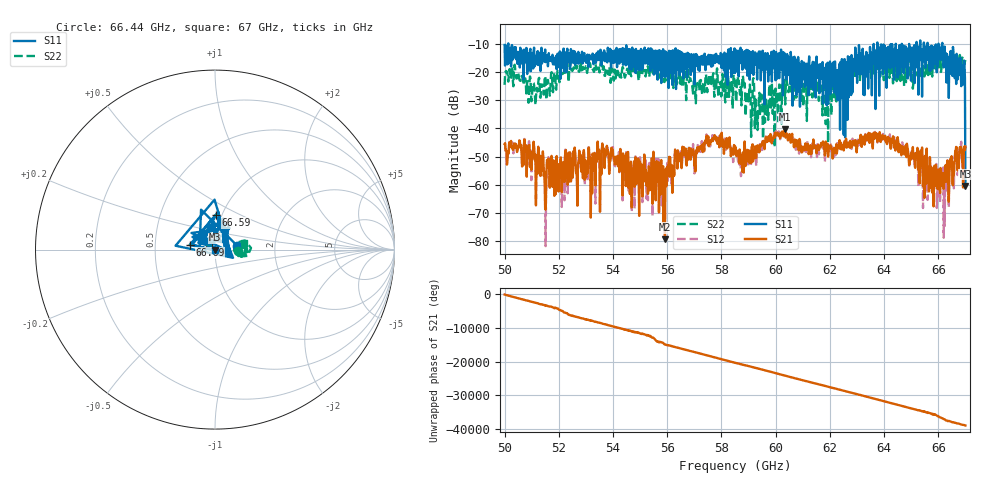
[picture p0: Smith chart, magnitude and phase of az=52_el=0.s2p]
!Created with skrf (http://scikit-rf.org).
# GHz S RI R 50.0
!freq ReS11 ImS11 ReS21 ImS21 ReS12 ImS12 ReS22 ImS22
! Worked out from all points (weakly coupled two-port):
!   1001 points, 50 GHz to 67 GHz, reference 50 ohm
!   highest |S21| = -40.29 dB at 60.34 GHz (marker M1); lowest = -79.3 dB at 55.92 GHz (marker M2)
!   lowest |S11| = -60.4 dB at 67 GHz (marker M3), VSWR 1.00, Z = 50 - j0.0949 ohm
!   |S11| at or under -10 dB: 50.14 GHz to 63.75 GHz (13.61 GHz wide, 23.9 % of centre); 63.76 GHz to 64.43 GHz (677.8 MHz wide, 1.06 % of centre); 66.15 GHz to end of sweep (the widest 3 of 11)
!   |S22| runs from -46.7 to -13.9 dB; largest |S21 - S12| = 0.0022
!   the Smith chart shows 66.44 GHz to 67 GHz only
!   S11 on the Smith chart (normalised r, x): 66.44 GHz: 1.28, +0.06; 66.59 GHz: 0.94, +0.38; 66.69 GHz: 0.75, +0.04; 67 GHz: 1.00, -0.00
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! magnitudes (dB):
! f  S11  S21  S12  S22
! 50 GHz  -10.4  -45.6  -45.4  -24.5
! 51.33 GHz  -19.6  -56.8  -56.9  -29.1
! 51.51 GHz  -16.5  -68.8  -81.8  -22.9
! 52.84 GHz  -14.4  -55.4  -55.4  -19.4
! 55.68 GHz  -13.8  -52.0  -50.8  -22.2
! 55.92 GHz  -21.7  -79.3  -59.1  -22.2
! 56.36 GHz  -14.7  -49.1  -50.5  -24.2
! 57.75 GHz  -13.9  -42.4  -43.2  -23.6
! 58.5 GHz  -20.3  -47.2  -47.1  -24.9
! 59.61 GHz  -13.4  -45.3  -44.2  -37.8
! 60.34 GHz  -13.4  -40.3  -41.3  -26.1
! 61.34 GHz  -24.8  -46.7  -48.6  -26.2
! 62 GHz  -16.3  -46.2  -48.2  -25.7
! 62.56 GHz  -43.2  -45.3  -44.6  -20.1
! 63.01 GHz  -23.9  -46.6  -47.1  -20.4
! 64.18 GHz  -18.3  -43.4  -45.4  -18.4
! 66.15 GHz  -9.7  -56.4  -55.7  -14.3
! 66.44 GHz  -18.1  -50.8  -51.3  -17.9
! 66.59 GHz  -14.2  -52.0  -51.3  -16.1
! 66.69 GHz  -16.8  -52.7  -51.0  -15.8
! 66.9 GHz  -17.5  -48.2  -52.8  -15.0
! 67 GHz  -60.4  -46.5  -46.6  -15.7
